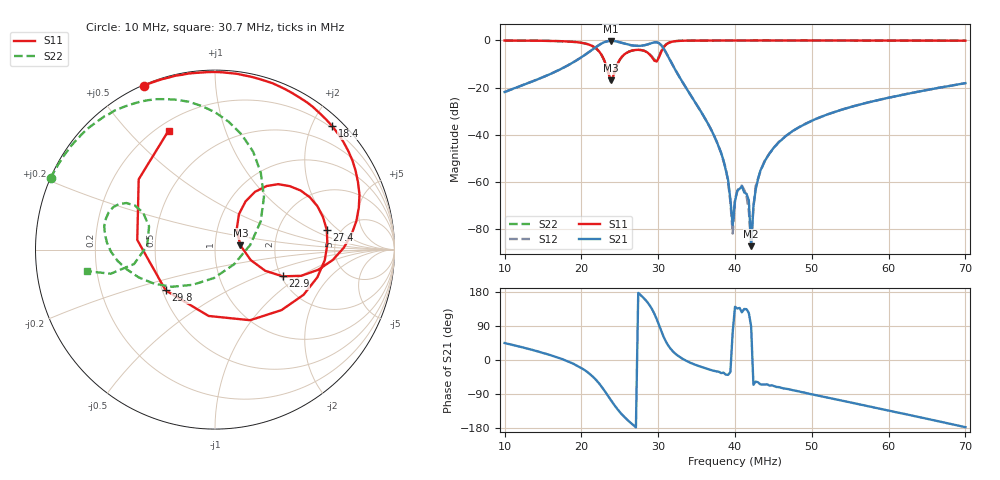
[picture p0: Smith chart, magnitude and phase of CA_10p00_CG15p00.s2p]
#  HZ  S  RI  R  50.00
! Rohde & Schwarz ZVT8 8Ports - Version 4.11 - 1300.0000k08 SN: 100242
! Date: 2026-07-31 14:07:44
! Measurements: S11 S21 S12 S22
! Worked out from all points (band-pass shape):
!   201 points, 10 MHz to 70 MHz, reference 50 ohm
!   highest |S21| = -0.17 dB at 23.8 MHz (marker M1); lowest = -87.4 dB at 42.1 MHz (marker M2)
!   |S21| within 3 dB of the highest: 21.73 MHz to 30.65 MHz (8.92 MHz wide, 34.1 % of centre)
!   lowest |S11| = -16.9 dB at 23.8 MHz (marker M3), VSWR 1.34, Z = 66.4 + j3.12 ohm
!   |S11| at or under -10 dB: 23.16 MHz to 24.69 MHz (1.536 MHz wide, 6.42 % of centre)
!   |S22| runs from -17.5 to 0.0 dB; largest |S21 - S12| = 0.0034
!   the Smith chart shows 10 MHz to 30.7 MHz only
!   S11 on the Smith chart (normalised r, x): 10 MHz: 0.00, +0.66; 18.4 MHz: 0.17, +2.32; 22.9 MHz: 2.04, -0.73; 27.4 MHz: 3.90, +1.42; 29.8 MHz: 0.52, -0.27; 30.7 MHz: 0.24, +0.65
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1e7  -0.3973 0.914  0.057 0.0566  0.0568 0.0566  -0.9148 0.3962
1.84e7  0.6541 0.687  0.3052 -0.0284  0.3044 -0.0273  -0.5299 0.7866
2.02e7  0.7968 0.3748  0.4233 -0.1869  0.4231 -0.1864  -0.2724 0.8382
2.29e7  0.3769 -0.149  0.1907 -0.8852  0.1916 -0.8862  0.2728 0.293
2.38e7  0.1417 0.023  -0.2499 -0.9486  -0.2504 -0.9491  0.1053 -0.0826
2.74e7  0.6231 0.1089  -0.7657 0.0382  -0.7687 0.0397  -0.6076 0.1725
2.86e7  0.4933 -0.2518  -0.7271 0.3819  -0.7284 0.3841  -0.4938 0.2597
2.98e7  -0.2751 -0.227  -0.2839 0.8688  -0.2835 0.8709  -0.3774 0.023
3.01e7  -0.4331 0.054  -0.0354 0.8763  -0.0354 0.8766  -0.4509 -0.0803
3.07e7  -0.259 0.6625  0.3249 0.5945  0.3229 0.595  -0.7144 -0.1198
3.34e7  0.9029 0.4058  0.1132 0.00117  0.113 0.00103  -0.9045 0.4052
3.82e7  0.906 -0.4203  0.00336 -0.00232  0.00335 -0.00219  -0.7122 0.6981
3.91e7  0.847 -0.5291  0.000851 -0.000695  0.00082 -0.000556  -0.6798 0.7335
3.97e7  0.803 -0.5941  3.27e-05 0.000113  -6.6e-05 -4.37e-05  -0.6563 0.751
4e7  0.7781 -0.6249  -0.000298 0.000247  -0.000321 0.000275  -0.6466 0.7615
4.15e7  0.6467 -0.7604  -0.000384 0.000396  -0.000345 0.000369  -0.5911 0.8039
4.21e7  0.588 -0.8068  9.61e-07 4.26e-05  -4.72e-05 4.45e-06  -0.57 0.8194
4.27e7  0.5267 -0.847  0.000376 -0.000578  0.000419 -0.000691  -0.5483 0.8348
4.39e7  0.3988 -0.9159  0.0012 -0.0025  0.00129 -0.00254  -0.505 0.8605
5.02e7  -0.3113 -0.9489  -0.000489 -0.0203  -0.000376 -0.0205  -0.2764 0.9583
6.01e7  -0.9845 -0.1408  -0.0424 -0.0442  -0.0424 -0.0442  0.0966 0.9907
7e7  -0.5494 0.8223  -0.1238 -0.00575  -0.1236 -0.00562  0.4695 0.8714
